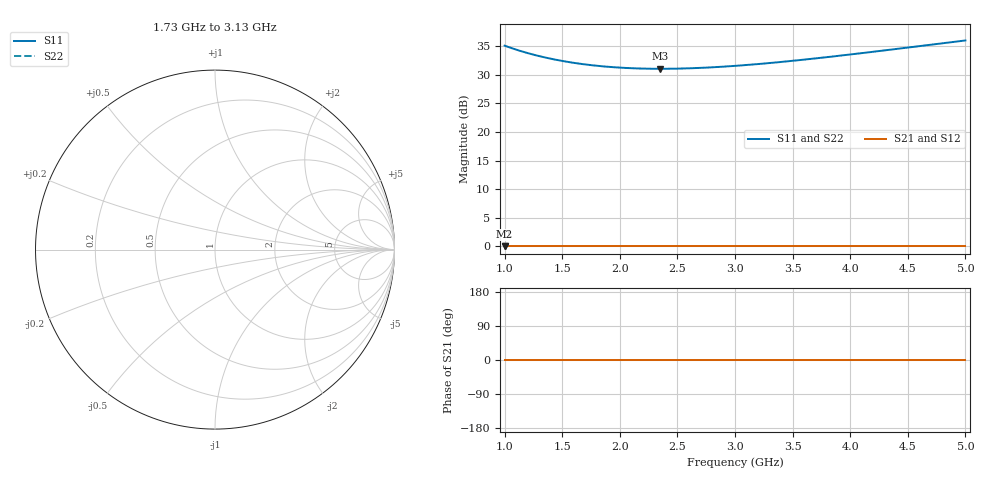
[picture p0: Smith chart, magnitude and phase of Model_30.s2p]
# GHZ S RI R 50
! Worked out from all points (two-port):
!   401 points, 1 GHz to 5 GHz, reference 50 ohm
!   highest |S21| = 0.00 dB at 1 GHz (marker M1); lowest = 0.0 dB at 1 GHz (marker M2)
!   |S21| within 3 dB of the highest: start of sweep to end of sweep
!   lowest |S11| = 31.1 dB at 2.35 GHz (marker M3)
!   |S11| at or under -10 dB: nowhere
!   |S22| runs from 31.1 to 36.0 dB; largest |S21 - S12| = 0
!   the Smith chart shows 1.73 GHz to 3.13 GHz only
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1  57.06 0  1 0  1 0  57.06 0
1.02  56.1 0  1 0  1 0  56.1 0
1.15  50.8 0  1 0  1 0  50.8 0
1.22  48.49 0  1 0  1 0  48.49 0
1.3  46.22 0  1 0  1 0  46.22 0
1.38  44.29 0  1 0  1 0  44.29 0
1.47  42.46 0  1 0  1 0  42.46 0
1.57  40.78 0  1 0  1 0  40.78 0
1.67  39.42 0  1 0  1 0  39.42 0
1.82  37.86 0  1 0  1 0  37.86 0
1.98  36.74 0  1 0  1 0  36.74 0
2.15  36.05 0  1 0  1 0  36.05 0
2.34  35.78 0  1 0  1 0  35.78 0
2.35  35.78 0  1 0  1 0  35.78 0
2.66  36.3 0  1 0  1 0  36.3 0
3  37.95 0  1 0  1 0  37.95 0
3.33  40.44 0  1 0  1 0  40.44 0
3.67  43.8 0  1 0  1 0  43.8 0
4  47.74 0  1 0  1 0  47.74 0
4.34  52.46 0  1 0  1 0  52.46 0
4.64  57.14 0  1 0  1 0  57.14 0
5  63.37 0  1 0  1 0  63.37 0
